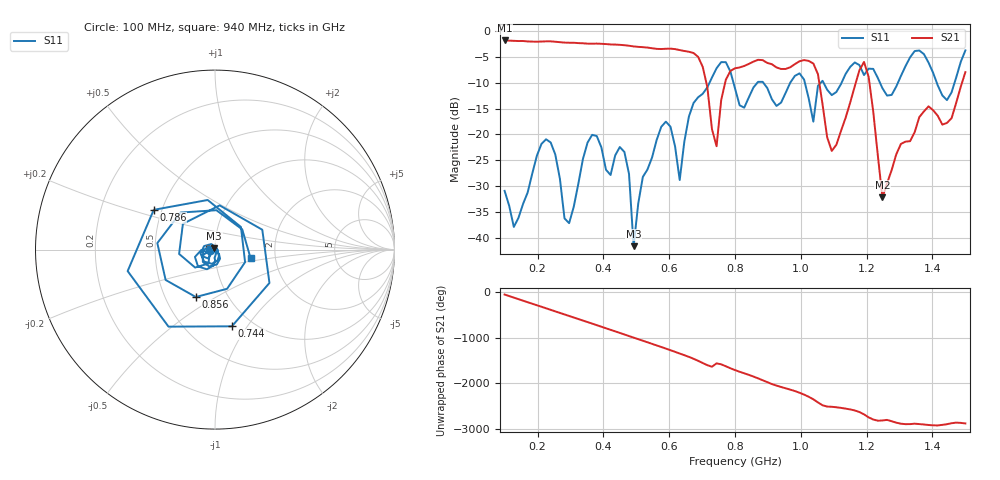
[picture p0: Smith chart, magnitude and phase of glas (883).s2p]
! NanoVNA-App
! Date: 2025-09-25 16:02:21
! Start: 100MHz Stop: 1,5GHz Points: 101
! S-Parameter data: F S11 S21 S12 S22
# Hz S RI R 50
!  Frequency  S11_Real  S11_Imag  S21_Real  S21_Imag  S12_Real  S12_Imag  S22_Real  S22_Imag
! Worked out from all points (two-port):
!   101 points, 100 MHz to 1.5 GHz, reference 50 ohm
!   highest |S21| = -1.80 dB at 100 MHz (marker M1); lowest = -32.2 dB at 1.248 GHz (marker M2)
!   |S21| within 3 dB of the highest: start of sweep to 684.7 MHz
!   lowest |S11| = -41.6 dB at 492 MHz (marker M3), VSWR 1.02, Z = 49.5 + j0.623 ohm
!   |S11| at or under -10 dB: start of sweep to 722.5 MHz; 795.4 MHz to 867.6 MHz (72.25 MHz wide, 8.69 % of centre); 886.3 MHz to 967.7 MHz (81.41 MHz wide, 8.78 % of centre) (the widest 3 of 7)
!   S12 and S22 are empty: the file has one direction only
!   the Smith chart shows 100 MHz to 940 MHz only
!   S11 on the Smith chart (normalised r, x): 100 MHz: 0.94, -0.01; 744 MHz: 0.81, -0.85; 786 MHz: 0.45, +0.24; 856 MHz: 0.71, -0.41; 940 MHz: 1.49, -0.15
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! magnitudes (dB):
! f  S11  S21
! 100 MHz  -30.9  -1.8
! 128 MHz  -37.9  -1.9
! 226 MHz  -20.9  -2.0
! 296 MHz  -37.2  -2.2
! 338 MHz  -24.7  -2.3
! 464 MHz  -23.4  -2.7
! 492 MHz  -41.6  -3.0
! 576 MHz  -18.5  -3.5
! 632 MHz  -28.8  -3.7
! 702 MHz  -12.1  -6.9
! 744 MHz  -7.2  -22.3
! 786 MHz  -7.8  -7.7
! 800 MHz  -11.1  -7.2
! 856 MHz  -10.9  -5.9
! 940 MHz  -13.8  -7.3
! 996 MHz  -8.2  -5.8
! 1.038 GHz  -17.5  -6.3
! 1.094 GHz  -12.4  -23.2
! 1.192 GHz  -8.5  -6.0
! 1.248 GHz  -11.1  -32.2
! 1.276 GHz  -12.3  -26.9
! 1.5 GHz  -3.7  -7.9
